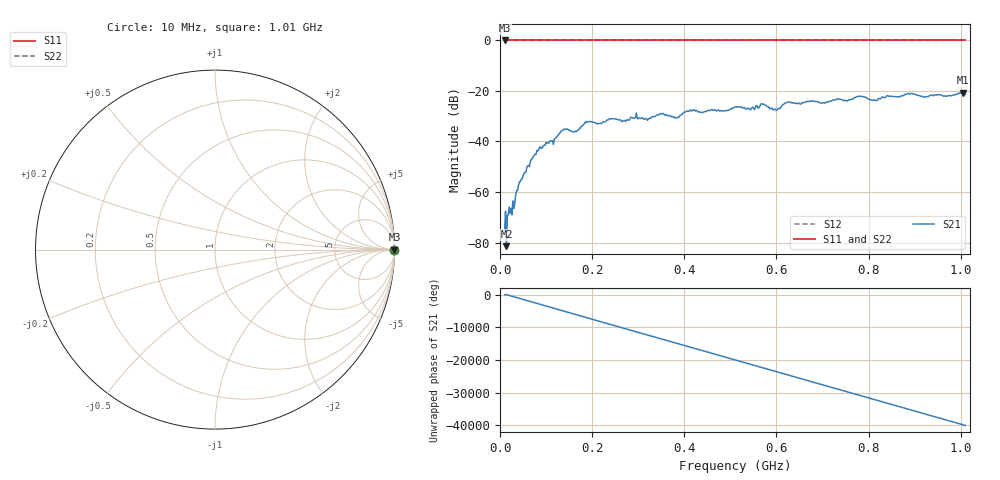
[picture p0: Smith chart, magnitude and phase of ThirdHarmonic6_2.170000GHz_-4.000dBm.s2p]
! 8/17/2025 1:53:24 AM
! C:\ANRITSUVNA\TEMP\TEMP.S2P
! CHANNEL.1
! TR.MEASUREMENT
! RAW.DATA
! RF.CORRECTION.OFF
! AVERAGING.OFF
! IF.BANDWIDTH: 5KHZ
! SWEEPTYPE:  FREQ.SWEEP(Linear)
! Reference Plane Port Info
! PORT:  PORT1  PORT2
! DISTANCE:  0  m  0  m
! TIME:  0  s  0  s
! PHASE.OFFSET:  0  deg.  0  deg.
! LOSS:  0  dB  0  dB
! REF.LOSS:  0  dB  0  dB
! REF.FREQ:  0  Hz  0  Hz
! Power Info
! POWER:  -20  dBm  -20  dBm
! EFF.POWER:  -20  dBm  -20  dBm
! SOURCE.ATTEN:  0  dB  0  dB
! TEST.ATTEN:  0  dB  0  dB
# GHZ S RI R 50.0
! FREQ.GHZ  S11RE  S11IM  S21RE  S21IM  S12RE  S12IM  S22RE  S22IM
!; PortSelection: Port_12
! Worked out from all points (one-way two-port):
!   501 points, 10 MHz to 1.01 GHz, reference 50 ohm
!   highest |S21| = -20.67 dB at 1.004 GHz (marker M1); lowest = -81.4 dB at 14 MHz (marker M2)
!   lowest |S11| = 0.0 dB at 10 MHz (marker M3)
!   |S11| at or under -10 dB: nowhere
!   |S22| runs from 0.0 to 0.0 dB; largest |S21 - S12| = 1.1
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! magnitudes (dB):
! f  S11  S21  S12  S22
! 10 MHz  0.0  -75.4  0.0  0.0
! 14 MHz  0.0  -81.4  0.0  0.0
! 20 MHz  0.0  -65.9  0.0  0.0
! 30 MHz  0.0  -66.6  0.0  0.0
! 44 MHz  0.0  -55.9  0.0  0.0
! 84 MHz  0.0  -43.1  0.0  0.0
! 136 MHz  0.0  -35.6  0.0  0.0
! 162 MHz  0.0  -36.2  0.0  0.0
! 178 MHz  0.0  -34.0  0.0  0.0
! 190 MHz  0.0  -32.2  0.0  0.0
! 322 MHz  0.0  -31.1  0.0  0.0
! 344 MHz  0.0  -29.5  0.0  0.0
! 384 MHz  0.0  -30.6  0.0  0.0
! 410 MHz  0.0  -28.1  0.0  0.0
! 510 MHz  0.0  -26.4  0.0  0.0
! 570 MHz  0.0  -25.2  0.0  0.0
! 598 MHz  0.0  -27.4  0.0  0.0
! 622 MHz  0.0  -24.6  0.0  0.0
! 678 MHz  0.0  -24.0  0.0  0.0
! 844 MHz  0.0  -22.1  0.0  0.0
! 1.004 GHz  0.0  -20.7  0.0  0.0
! 1.01 GHz  0.0  -21.3  0.0  0.0
